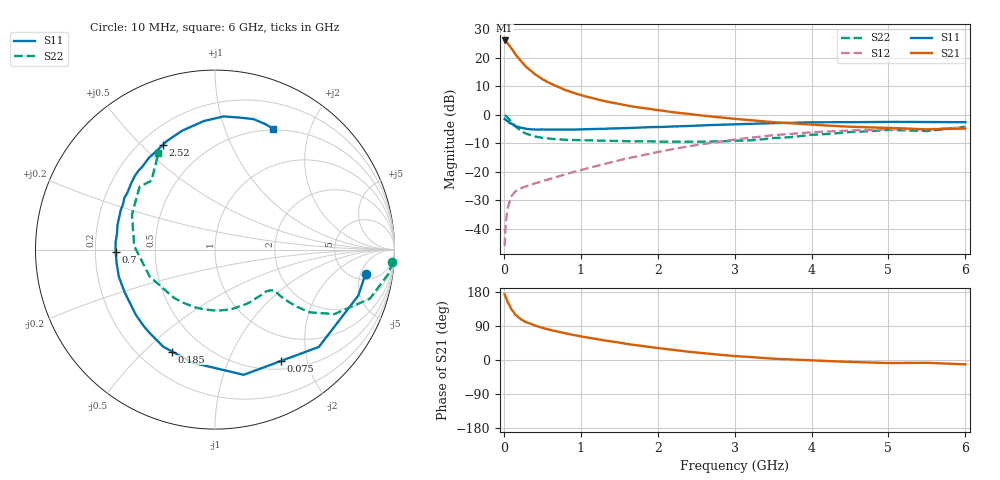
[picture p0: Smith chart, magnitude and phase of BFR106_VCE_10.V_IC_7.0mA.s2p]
! Infineon Technologies  Discrete & RF Semiconductors
! BFR106
! VCE =  10. V,  IC =  7.0 mA
! Common Emitter S-Parameters:  Nov 2015
# GHz  S  MA  R  50
!  f  S11  S21  S12  S22
! GHz  MAG  ANG  MAG  ANG  MAG  ANG  MAG  ANG
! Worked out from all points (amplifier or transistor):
!   210 points, 10 MHz to 6 GHz, reference 50 ohm
!   highest |S21| = 26.1 dB at 10 MHz (marker M1)
!   |S21| within 3 dB of that: start of sweep to 105.3 MHz
!   unconditionally stable (mu >= 1): 571 MHz to 1.889 GHz; 5.186 GHz to end of sweep
!   at 185 MHz: K = 0.45, MSG = 23.2 dB, |S12| = -26.2 dB
!   at 1.52 GHz: K = 1.09, MAG = 7.9 dB, |S12| = -15.8 dB
!   at 6 GHz: K = 1.01, MAG = -0.9 dB, |S12| = -4.4 dB
!   S11 on the Smith chart (normalised r, x): 10 MHz: 6.32, -6.13; 75 MHz: 0.61, -1.59; 185 MHz: 0.33, -0.61; 700 MHz: 0.29, -0.01; 2.52 GHz: 0.29, +0.58; 6 GHz: 0.49, +1.48
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0.01  0.8501 -9.1  20.27 173.4  0.005 88.3  0.9903 -3.9
0.02  0.8384 -17.8  19.89 168.4  0.0096 82.4  0.9773 -7.8
0.05  0.793 -43.1  18.08 152.3  0.0232 68.4  0.9049 -17.6
0.075  0.7215 -59.2  16.17 143.7  0.0303 60.4  0.8266 -22.5
0.1  0.7157 -77.1  14.71 133.1  0.0377 55.5  0.7557 -28.4
0.15  0.6426 -101.0  11.62 119.2  0.0457 47.5  0.6335 -33.5
0.185  0.6162 -112.8  10.14 113.6  0.0488 45.7  0.5799 -34.4
0.2  0.6132 -118.0  9.537 110.7  0.0501 45.0  0.557 -34.9
0.24  0.5898 -128.3  8.251 105.2  0.0531 43.6  0.5103 -35.3
0.3  0.5714 -140.6  6.773 98.8  0.0568 44.1  0.4635 -35.5
0.4  0.5569 -154.6  5.243 91.2  0.0627 46.2  0.4201 -35.0
0.5  0.5567 -164.3  4.243 84.7  0.0687 49.0  0.3965 -35.1
0.7  0.5538 -178.9  3.117 74.6  0.0827 54.4  0.3742 -37.9
0.86  0.5535 172.8  2.563 67.9  0.096 57.8  0.365 -40.7
1.02  0.5606 165.1  2.195 61.7  0.1095 60.4  0.3608 -44.8
1.4  0.5815 150.3  1.65 49.0  0.1485 63.8  0.3521 -56.4
2.02  0.6149 130.9  1.204 31.1  0.2267 62.2  0.3409 -80.5
2.52  0.6518 116.6  0.998 19.4  0.2987 57.0  0.3384 -104.5
3.1  0.6926 102.9  0.834 9.2  0.3838 48.0  0.354 -136.0
4.1  0.7436 85.1  0.663 -1.9  0.5038 29.5  0.456 173.0
5.1  0.7566 72.4  0.588 -7.9  0.5602 12.9  0.5416 138.8
6  0.7466 64.2  0.578 -11.5  0.6026 1.1  0.6214 120.5
